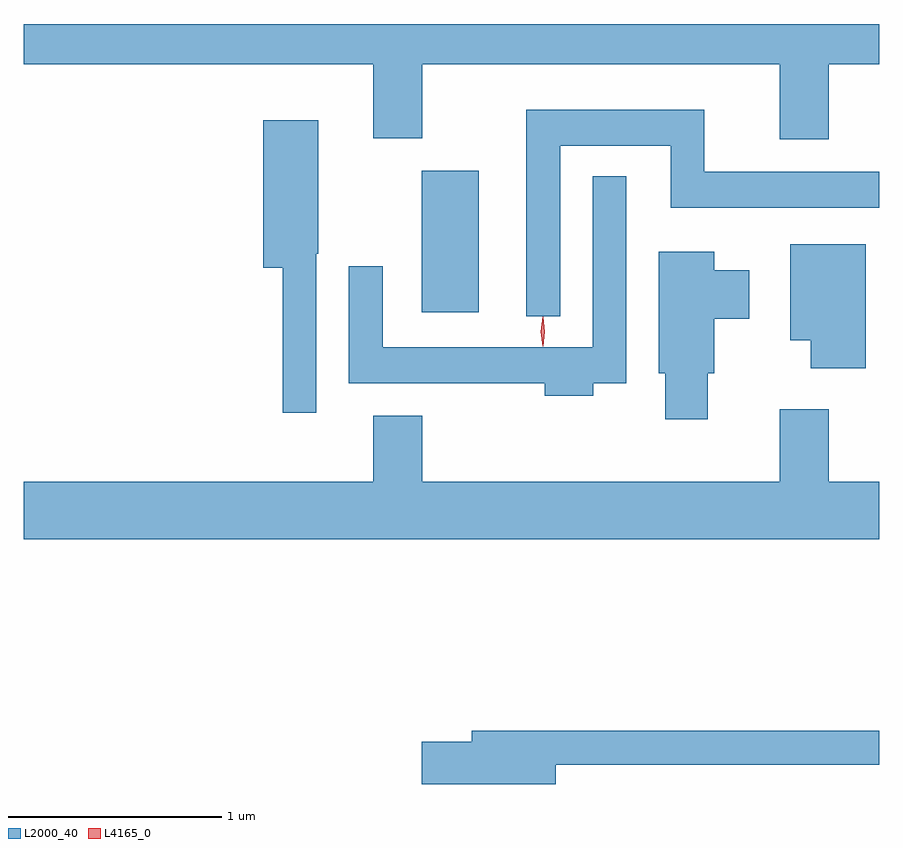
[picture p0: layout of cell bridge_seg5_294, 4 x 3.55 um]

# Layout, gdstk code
import gdstk
lib = gdstk.Library(unit=1e-6, precision=1e-09)
def R(c, l, rs):  # rectangles x0, y0, x1, y1
    for r in rs: c.add(gdstk.rectangle(r[:2], r[2:], *l))
def P(c, l, *ps):  # polygons
    for p in ps: c.add(gdstk.Polygon(p, *l))
L2000_40 = (2000, 40)
L4165_0 = (4165, 0)

bridge_seg5_294 = lib.new_cell('bridge_seg5_294')
R(bridge_seg5_294, L2000_40, [(663.706,1500.036,663.974,1500.699)])
P(bridge_seg5_294, L2000_40, [(665.609,1501.196),(665.846,1501.196),(665.846,1501.385),(661.846,1501.385),(661.846,1501.196),(663.481,1501.196),(663.481,1500.851),(663.709,1500.851),(663.709,1501.196),(665.381,1501.196),(665.381,1500.846),(665.609,1500.846)],
  [(664.354,1500.816),(664.871,1500.816),(664.871,1500.526),(665.846,1500.526),(665.846,1500.694),(665.029,1500.694),(665.029,1500.984),(664.196,1500.984),(664.196,1500.018),(664.354,1500.018)],
  [(663.214,1500.31),(663.224,1500.31),(663.224,1500.934),(662.966,1500.934),(662.966,1500.246),(663.056,1500.246),(663.056,1499.568),(663.214,1499.568)],
  [(664.509,1499.706),(664.664,1499.706),(664.664,1500.673),(664.506,1500.673),(664.506,1499.874),(663.524,1499.874),(663.524,1500.253),(663.366,1500.253),(663.366,1499.706),(664.281,1499.706),(664.281,1499.646),(664.509,1499.646)],
  [(665.784,1500.354),(665.431,1500.354),(665.431,1499.906),(665.526,1499.906),(665.526,1499.776),(665.784,1499.776)],
  [(665.044,1499.751),(665.074,1499.751),(665.074,1500.006),(665.239,1500.006),(665.239,1500.234),(665.074,1500.234),(665.074,1500.319),(664.816,1500.319),(664.816,1499.751),(664.846,1499.751),(664.846,1499.536),(665.044,1499.536)],
  [(665.846,1499.244),(665.609,1499.244),(665.609,1499.584),(665.381,1499.584),(665.381,1499.244),(663.709,1499.244),(663.709,1499.554),(663.481,1499.554),(663.481,1499.244),(661.846,1499.244),(661.846,1498.976),(665.846,1498.976)],
  [(664.334,1497.921),(665.846,1497.921),(665.846,1498.079),(663.941,1498.079),(663.941,1498.029),(663.706,1498.029),(663.706,1497.831),(664.334,1497.831)])
P(bridge_seg5_294, L4165_0, [(664.273,1499.877),(664.273,1499.878),(664.263,1499.947),(664.273,1500.016),(664.273,1500.016),(664.274,1500.016),(664.283,1499.947),(664.274,1499.878)])

lib.write_gds('bridge_seg5_294.gds')
